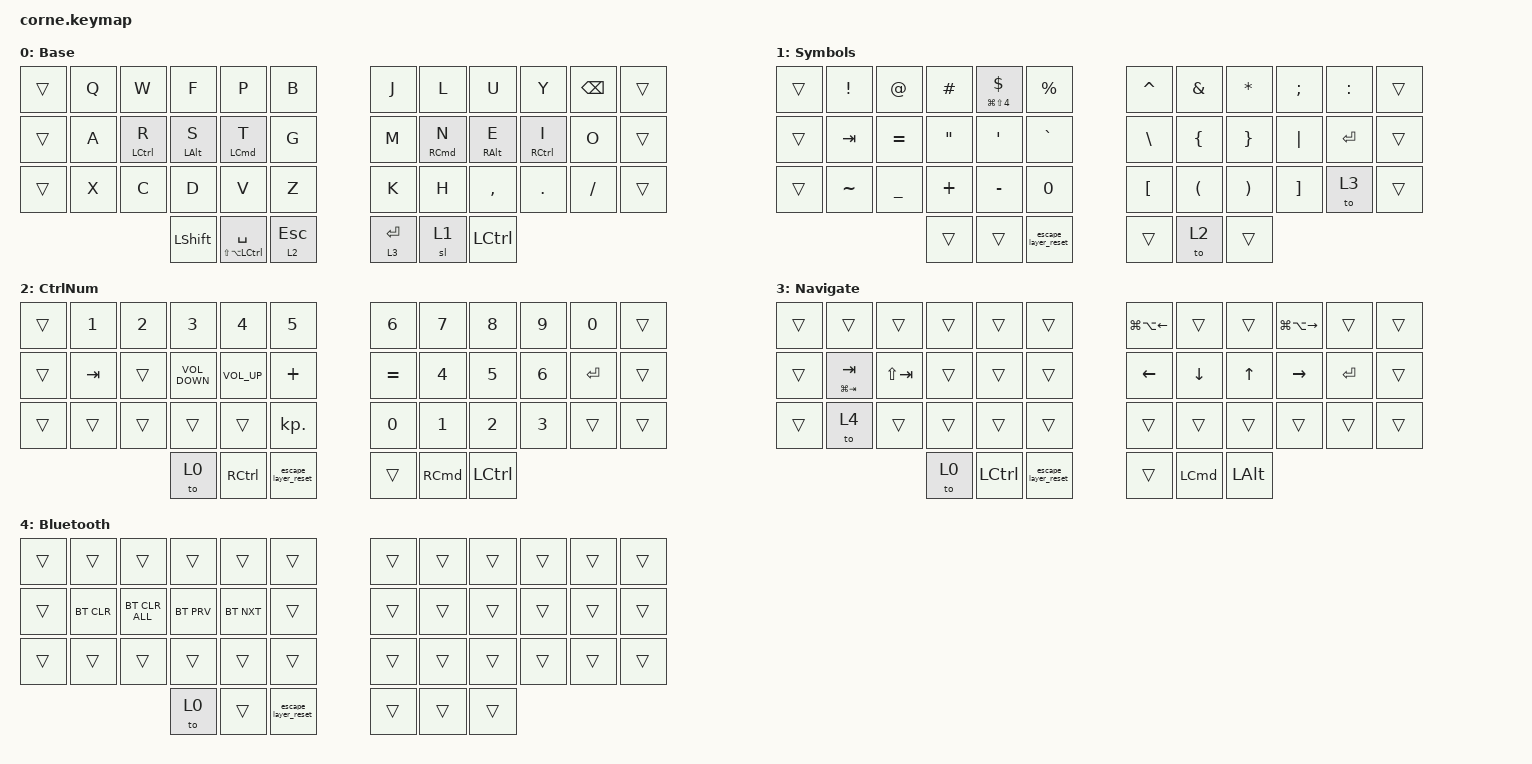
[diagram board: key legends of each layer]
/*
 * Copyright (c) 2020 The ZMK Contributors
 *
 * SPDX-License-Identifier: MIT
 */

#include <behaviors.dtsi>
#include <dt-bindings/zmk/bt.h>
#include <dt-bindings/zmk/keys.h>

/ {
    behaviors {
        hmr: hmr {
            compatible = "zmk,behavior-hold-tap";
            label = "HMR";
            bindings = <&kp>, <&kp>;

            #binding-cells = <2>;
            tapping-term-ms = <280>;
            quick-tap-ms = <175>;
            flavor = "balanced";
            hold-trigger-key-positions = <0 1 2 3 4 5 12 13 14 15 16 17 24 25 26 27 28 29 36 37 38 6 7 8 9 10 11 18 19 20 21 22 23 30 31 32 33 34 35 39 40 41>;
        };

        thl: thl {
            compatible = "zmk,behavior-hold-tap";
            label = "THL";
            bindings = <&mo>, <&sl>;

            #binding-cells = <2>;
            tapping-term-ms = <250>;
            flavor = "tap-preferred";
        };
    };

    macros {
        escape_layer_reset: escape_layer_reset {
            compatible = "zmk,behavior-macro";
            #binding-cells = <0>;
            bindings = <&kp ESCAPE &to 0>;
            label = "ESCAPE_LAYER_RESET";
        };
    };

    keymap {
        compatible = "zmk,keymap";

        Base {
            // -----------------------------------------------------------------------------------------
            // |  TAB |  Q  |  W  |  E  |  R  |  T  |   |  Y  |  U   |  I  |  O  |  P  | BKSP |
            // | CTRL |  A  |  S  |  D  |  F  |  G  |   |  H  |  J   |  K  |  L  |  ;  |  '   |
            // | SHFT |  Z  |  X  |  C  |  V  |  B  |   |  N  |  M   |  ,  |  .  |  /  | ESC  |
            //                    | GUI | LWR | SPC |   | ENT | RSE  | ALT |

            bindings = <
&trans  &kp Q  &kp W                &kp F            &kp P                     &kp B           &kp J        &kp L                 &kp U             &kp Y                 &kp BACKSPACE  &trans
&trans  &kp A  &hmr LEFT_CONTROL R  &hmr LEFT_ALT S  &hmr LEFT_COMMAND T       &kp G           &kp M        &hmr RIGHT_COMMAND N  &hmr RIGHT_ALT E  &hmr RIGHT_CONTROL I  &kp O          &trans
&trans  &kp X  &kp C                &kp D            &kp V                     &kp Z           &kp K        &kp H                 &kp COMMA         &kp DOT               &kp FSLH       &trans
                                    &kp LEFT_SHIFT   &hmr LS(LA(LCTRL)) SPACE  &lt 2 ESCAPE    &lt 3 ENTER  &sl 1                 &kp LEFT_CONTROL
            >;
        };

        Symbols {
            // -----------------------------------------------------------------------------------------
            // |  TAB |  1  |  2  |  3  |  4  |  5  |   |  6  |  7  |  8  |  9  |  0  | BKSP |
            // | BTCLR| BT1 | BT2 | BT3 | BT4 | BT5 |   | LFT | DWN |  UP | RGT |     |      |
            // | SHFT |     |     |     |     |     |   |     |     |     |     |     |      |
            //                    | GUI |     | SPC |   | ENT |     | ALT |

            bindings = <
&trans  &kp EXCL   &kp AT_SIGN  &kp HASH           &hmr LG(LS(NUMBER_4)) DOLLAR  &kp PERCENT            &kp CARET         &kp AMPERSAND         &kp ASTERISK           &kp SEMICOLON      &kp COLON  &trans
&trans  &kp TAB    &kp EQUAL    &kp DOUBLE_QUOTES  &kp SINGLE_QUOTE              &kp GRAVE              &kp BACKSLASH     &kp LEFT_BRACE        &kp RIGHT_BRACE        &kp PIPE           &kp ENTER  &trans
&trans  &kp TILDE  &kp UNDER    &kp PLUS           &kp MINUS                     &kp N0                 &kp LEFT_BRACKET  &kp LEFT_PARENTHESIS  &kp RIGHT_PARENTHESIS  &kp RIGHT_BRACKET  &to 3      &trans
                                &trans             &trans                        &escape_layer_reset    &trans            &to 2                 &trans
            >;
        };

        CtrlNum {
            bindings = <
&trans  &kp NUMBER_1  &kp NUMBER_2  &kp NUMBER_3       &kp NUMBER_4       &kp NUMBER_5           &kp NUMBER_6  &kp NUMBER_7       &kp NUMBER_8      &kp NUMBER_9  &kp NUMBER_0  &trans
&trans  &kp TAB       &trans        &kp C_VOLUME_DOWN  &kp C_VOLUME_UP    &kp PLUS               &kp EQUAL     &kp NUMBER_4       &kp NUMBER_5      &kp NUMBER_6  &kp ENTER     &trans
&trans  &trans        &trans        &trans             &trans             &kp KP_DOT             &kp NUMBER_0  &kp NUMBER_1       &kp NUMBER_2      &kp NUMBER_3  &trans        &trans
                                    &to 0              &kp RIGHT_CONTROL  &escape_layer_reset    &trans        &kp RIGHT_COMMAND  &kp LEFT_CONTROL
            >;
        };

        Navigate {
            bindings = <
&trans  &trans            &trans       &trans  &trans            &trans                 &kp LG(LA(LEFT))  &trans            &trans        &kp LG(LA(RIGHT))  &trans     &trans
&trans  &hmr LG(TAB) TAB  &kp LS(TAB)  &trans  &trans            &trans                 &kp LEFT          &kp DOWN          &kp UP_ARROW  &kp RIGHT          &kp ENTER  &trans
&trans  &to 4             &trans       &trans  &trans            &trans                 &trans            &trans            &trans        &trans             &trans     &trans
                                       &to 0   &kp LEFT_CONTROL  &escape_layer_reset    &trans            &kp LEFT_COMMAND  &kp LEFT_ALT
            >;
        };

        Bluetooth {
            bindings = <
&trans  &trans      &trans          &trans      &trans      &trans                 &trans  &trans  &trans  &trans  &trans  &trans
&trans  &bt BT_CLR  &bt BT_CLR_ALL  &bt BT_PRV  &bt BT_NXT  &trans                 &trans  &trans  &trans  &trans  &trans  &trans
&trans  &trans      &trans          &trans      &trans      &trans                 &trans  &trans  &trans  &trans  &trans  &trans
                                    &to 0       &trans      &escape_layer_reset    &trans  &trans  &trans
            >;
        };
    };
};
